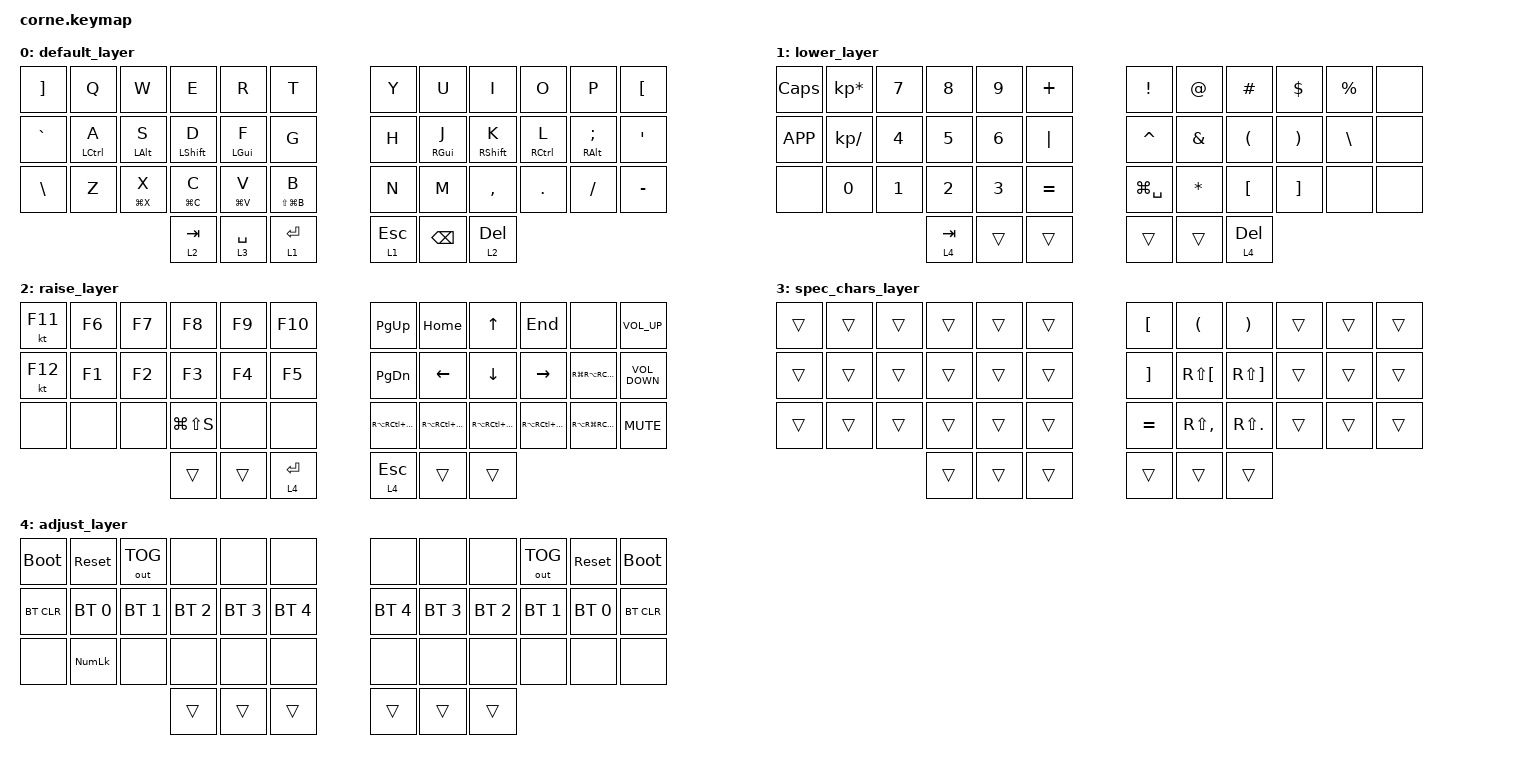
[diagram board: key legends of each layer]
/*
 * Copyright (c) 2020 The ZMK Contributors
 *
 * SPDX-License-Identifier: MIT
 */

#include <behaviors.dtsi>
#include <dt-bindings/zmk/bt.h>
#include <dt-bindings/zmk/keys.h>
#include <dt-bindings/zmk/outputs.h>

#define DEF 0
#define LWR 1
#define RSE 2
#define ADJ 3

&lt { quick_tap_ms = <220>; };

&mt { quick_tap_ms = <220>; };

/ {
    combos {
        compatible = "zmk,combos";

        Mainbootloaderleft {
            bindings = <&bootloader>;
            key-positions = <0 4>;
            timeout-ms = <20>;
        };

        Mainbootloaderright {
            bindings = <&bootloader>;
            key-positions = <7 11>;
            timeout-ms = <20>;
        };

        switch_to_en {
            bindings = <&switch_to_en>;
            key-positions = <3 4>;
            timeout-ms = <50>;
        };

        switch_to_ru {
            bindings = <&switch_to_ru>;
            key-positions = <7 8>;
            timeout-ms = <50>;
        };
    };

    macros {
        switch_to_en: switch_to_en {
            label = "ZM_switch_to_en";
            compatible = "zmk,behavior-macro";
            #binding-cells = <0>;
            wait-ms = <40>;
            tap-ms = <40>;
            bindings =
                <&macro_press>,
                <&kp LCTRL &kp LALT>,
                <&macro_tap>,
                <&kp N1>,
                <&macro_release>,
                <&kp LALT &kp LCTRL>;
        };

        switch_to_ru: switch_to_ru {
            label = "ZM_switch_to_ru";
            compatible = "zmk,behavior-macro";
            #binding-cells = <0>;
            wait-ms = <40>;
            tap-ms = <40>;
            bindings =
                <&macro_press>,
                <&kp LCTRL &kp LALT>,
                <&macro_tap>,
                <&kp N2>,
                <&macro_release>,
                <&kp LALT &kp LCTRL>;
        };

        switch_to_prev: switch_to_prev {
            label = "ZM_switch_to_prev";
            compatible = "zmk,behavior-macro";
            #binding-cells = <0>;
            wait-ms = <40>;
            tap-ms = <40>;
            bindings =
                <&macro_press>,
                <&kp LCTRL &kp LALT>,
                <&macro_tap>,
                <&kp N3>,
                <&macro_release>,
                <&kp LALT &kp LCTRL>;
        };

        always_en: always_en {
            label = "ZM_always_en";
            compatible = "zmk,behavior-macro-one-param";
            #binding-cells = <1>;
            wait-ms = <10>;
            tap-ms = <20>;
            bindings = <&switch_to_en &macro_param_1to1 &kp MACRO_PLACEHOLDER &switch_to_prev>;
        };
    };
};

/ {
    behaviors {
        hml: hml {
            compatible = "zmk,behavior-hold-tap";
            label = "HML";
            bindings = <&kp>, <&kp>;

            #binding-cells = <2>;
            tapping-term-ms = <280>;
            quick-tap-ms = <175>;
            flavor = "balanced";
            hold-trigger-key-positions = <6 7 8 9 8 9 20 21 6 7 8 9 10 11 18 19 20 21 22 23 30 31 32 33 34 35 39 40 41>;
            require-prior-idle-ms = <150>;
            hold-trigger-on-release;
        };

        hmr: hmr {
            compatible = "zmk,behavior-hold-tap";
            label = "HMR";
            bindings = <&kp>, <&kp>;

            #binding-cells = <2>;
            tapping-term-ms = <280>;
            quick-tap-ms = <175>;
            flavor = "balanced";
            hold-trigger-key-positions = <0 1 2 3 4 5 12 13 14 15 16 17 24 25 26 27 28 29 36 37 38>;
            require-prior-idle-ms = <150>;
            hold-trigger-on-release;
        };

        lp: lp {
            compatible = "zmk,behavior-hold-tap";
            label = "LONG_PRESS";
            bindings = <&kp>, <&kp>;

            #binding-cells = <2>;
            tapping-term-ms = <350>;
            flavor = "tap-preferred";
        };
    };

    keymap {
        compatible = "zmk,keymap";

        default_layer {
            bindings = <
&kp RBKT   &kp Q                &kp W            &kp E              &kp R            &kp T              &kp Y      &kp U             &kp I               &kp O                 &kp P                &kp LBKT
&kp GRAVE  &hml LEFT_CONTROL A  &hml LEFT_ALT S  &hml LEFT_SHIFT D  &hml LEFT_GUI F  &kp G              &kp H      &hmr RIGHT_GUI J  &hmr RIGHT_SHIFT K  &hmr RIGHT_CONTROL L  &hmr RIGHT_ALT SEMI  &kp SQT
&kp BSLH   &kp Z                &lp LG(X) X      &lp LG(C) C        &lp LG(V) V      &lp LS(LG(B)) B    &kp N      &kp M             &kp COMMA           &kp DOT               &kp FSLH             &kp MINUS
                                                 &lt 2 TAB          &lt 3 SPACE      &lt 1 RET          &lt 1 ESC  &kp BSPC          &lt 2 DEL
            >;
        };

        lower_layer {
            bindings = <
&kp CAPS   &kp KP_MULTIPLY  &kp N7  &kp N8     &kp N9  &kp PLUS     &kp EXCL       &kp AT    &kp HASH   &kp DLLR  &kp PRCNT  &none
&kp K_APP  &kp KP_SLASH     &kp N4  &kp N5     &kp N6  &kp PIPE     &kp CARET      &kp AMPS  &kp LPAR   &kp RPAR  &kp BSLH   &none
&none      &kp N0           &kp N1  &kp N2     &kp N3  &kp EQUAL    &kp LG(SPACE)  &kp STAR  &kp LBKT   &kp RBKT  &none      &none
                                    &lt 4 TAB  &trans  &trans       &trans         &trans    &lt 4 DEL
            >;
        };

        raise_layer {
            bindings = <
&kt F11  &kp F6  &kp F7  &kp F8         &kp F9  &kp F10      &kp PG_UP                 &kp HOME                  &kp UP                    &kp END                   &none                     &kp C_VOLUME_UP
&kt F12  &kp F1  &kp F2  &kp F3         &kp F4  &kp F5       &kp PG_DN                 &kp LEFT                  &kp DOWN                  &kp RIGHT                 &kp RG(RA(RC(NUMBER_6)))  &kp C_VOLUME_DOWN
&none    &none   &none   &kp LG(LS(S))  &none   &none        &kp RA(RC(RG(NUMBER_1)))  &kp RA(RC(RG(NUMBER_2)))  &kp RA(RC(RG(NUMBER_3)))  &kp RA(RC(RG(NUMBER_4)))  &kp RA(RG(RC(NUMBER_5)))  &kp C_MUTE
                         &trans         &trans  &lt 4 RET    &lt 4 ESC                 &trans                    &trans
            >;
        };

        spec_chars_layer {
            bindings = <
&trans  &trans  &trans  &trans  &trans  &trans    &kp LBKT   &kp LPAR       &kp RPAR      &trans  &trans  &trans
&trans  &trans  &trans  &trans  &trans  &trans    &kp RBKT   &kp RS(LBKT)   &kp RS(RBKT)  &trans  &trans  &trans
&trans  &trans  &trans  &trans  &trans  &trans    &kp EQUAL  &kp RS(COMMA)  &kp RS(DOT)   &trans  &trans  &trans
                        &trans  &trans  &trans    &trans     &trans         &trans
            >;
        };

        adjust_layer {
            bindings = <
&bootloader  &sys_reset    &out OUT_TOG  &none         &none         &none           &none         &none         &none         &out OUT_TOG  &sys_reset    &bootloader
&bt BT_CLR   &bt BT_SEL 0  &bt BT_SEL 1  &bt BT_SEL 2  &bt BT_SEL 3  &bt BT_SEL 4    &bt BT_SEL 4  &bt BT_SEL 3  &bt BT_SEL 2  &bt BT_SEL 1  &bt BT_SEL 0  &bt BT_CLR
&none        &kp KP_NUM    &none         &none         &none         &none           &none         &none         &none         &none         &none         &none
                                         &trans        &trans        &trans          &trans        &trans        &trans
            >;
        };
    };
};
